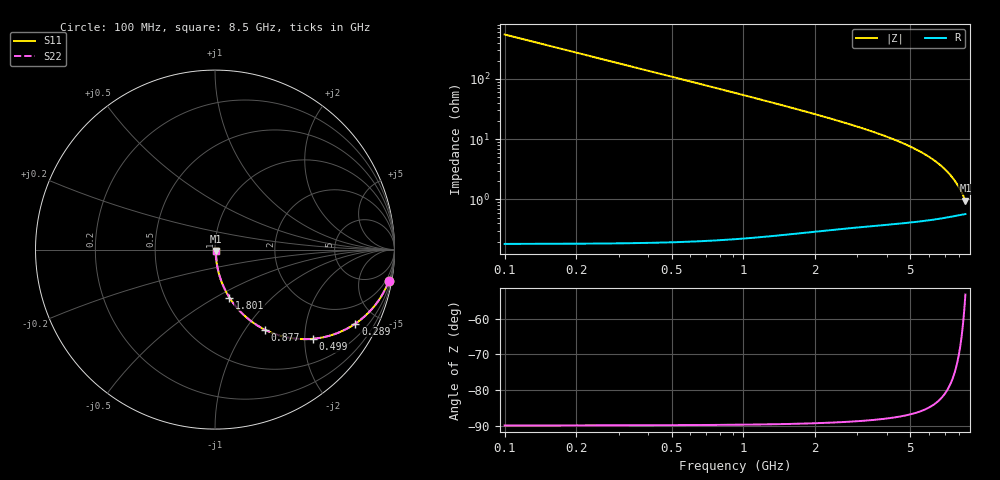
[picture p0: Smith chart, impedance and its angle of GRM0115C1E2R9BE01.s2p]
!Murata Part Number: GRM0115C1E2R9BE01
!These Parameters are Measured in Series Mode Connection
!Data Generated on Mar 30, 2021
!  o--ll--o
!Port1  Port2
!  o------o
!Operation Temp=25[degC], DC Bias Voltage=0[V]
!Freq. Start=100[MHz] Stop=9[GHz] 401[Steps]
# Hz S RI R 50
!Freq.(Hz) S11(Real) S11(Imag) S21(Real) S21(Imag) S12(Real) S12(Imag) S22(Real) S22(Imag)
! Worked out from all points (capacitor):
!   401 points, 100 MHz to 8.5 GHz, reference 50 ohm
!   read as one part in series: C = 2.9 pF near 142 MHz
!   lowest |Z| = 954 mohm at 8.5 GHz (marker M1)
!   S11 on the Smith chart (normalised r, x): 100 MHz: 1, -11; 289 MHz: 1.00, -3.79; 499 MHz: 1.00, -2.19; 877 MHz: 1.00, -1.24; 1.801 GHz: 1.01, -0.58; 8.5 GHz: 1.01, -0.02
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1e8  0.9678 -0.1764  0.0322 0.1764  0.0322 0.1764  0.9678 -0.1764
1.42e8  0.9371 -0.2425  0.0629 0.2425  0.0629 0.2425  0.9371 -0.2425
1.63e8  0.9188 -0.2729  0.0812 0.2729  0.0812 0.2729  0.9188 -0.2729
2.05e8  0.8773 -0.3278  0.1227 0.3278  0.1227 0.3278  0.8773 -0.3278
2.89e8  0.7823 -0.4122  0.2177 0.4122  0.2177 0.4122  0.7823 -0.4122
3.94e8  0.6587 -0.4735  0.3413 0.4735  0.3413 0.4735  0.6587 -0.4735
4.99e8  0.5456 -0.497  0.4544 0.497  0.4544 0.497  0.5456 -0.497
6.88e8  0.386 -0.4855  0.614 0.4855  0.614 0.4855  0.386 -0.4855
8.77e8  0.2778 -0.4462  0.7222 0.4462  0.7222 0.4462  0.2778 -0.4462
1.15e9  0.1813 -0.3828  0.8187 0.3828  0.8187 0.3828  0.1813 -0.3828
1.507e9  0.1126 -0.3125  0.8874 0.3125  0.8874 0.3125  0.1126 -0.3125
1.801e9  0.0805 -0.2673  0.9195 0.2673  0.9195 0.2673  0.0805 -0.2673
2.305e9  0.0495 -0.2099  0.9505 0.2099  0.9505 0.2099  0.0495 -0.2099
2.914e9  0.0305 -0.1621  0.9695 0.1621  0.9695 0.1621  0.0305 -0.1621
4.3e9  0.0133 -0.0962  0.9867 0.0962  0.9867 0.0962  0.0133 -0.0962
5.707e9  0.00759 -0.0565  0.9924 0.0565  0.9924 0.0565  0.00759 -0.0565
6.484e9  0.00632 -0.0401  0.9937 0.0401  0.9937 0.0401  0.00632 -0.0401
7.114e9  0.00582 -0.0286  0.9942 0.0286  0.9942 0.0286  0.00582 -0.0286
7.513e9  0.00568 -0.0221  0.9943 0.0221  0.9943 0.0221  0.00568 -0.0221
7.849e9  0.00565 -0.0169  0.9944 0.0169  0.9944 0.0169  0.00565 -0.0169
8.143e9  0.00567 -0.0125  0.9943 0.0125  0.9943 0.0125  0.00567 -0.0125
8.5e9  0.00574 -0.00755  0.9943 0.00755  0.9943 0.00755  0.00574 -0.00755
